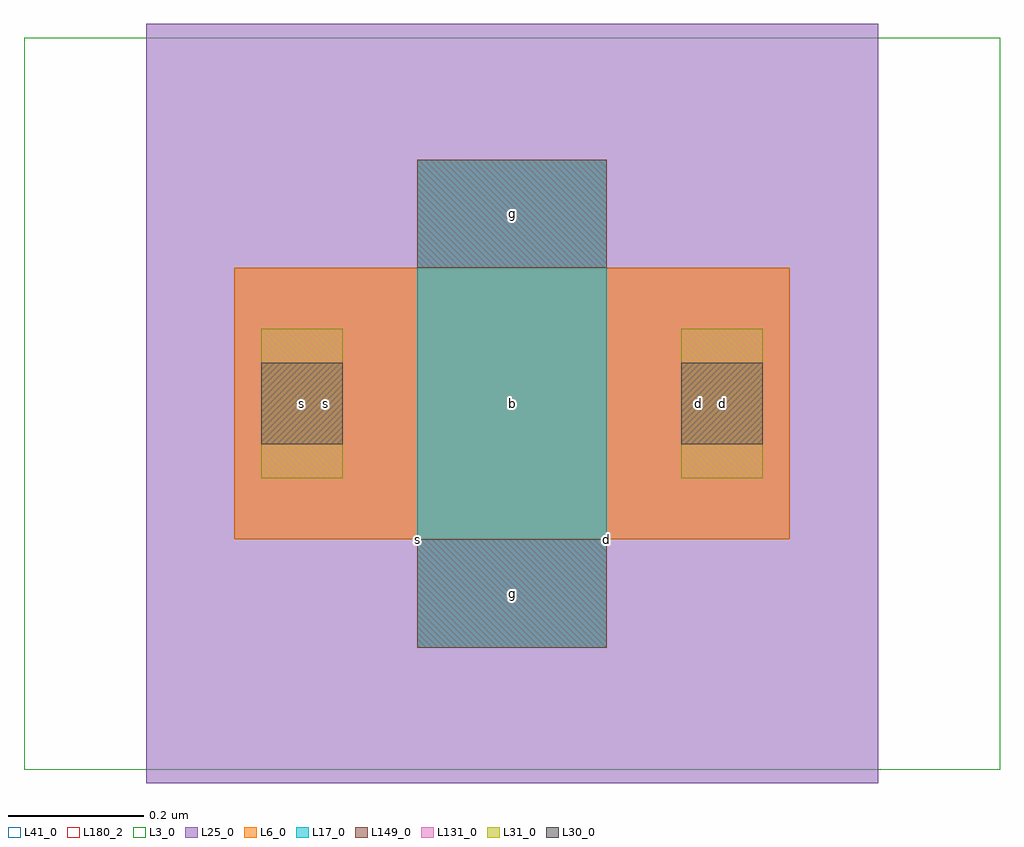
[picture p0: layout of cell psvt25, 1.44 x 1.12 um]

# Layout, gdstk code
import gdstk
lib = gdstk.Library(unit=1e-6, precision=1e-09)
def R(c, l, rs):  # rectangles x0, y0, x1, y1
    for r in rs: c.add(gdstk.rectangle(r[:2], r[2:], *l))
L3_0 = (3, 0)
L6_0 = (6, 0)
L17_0 = (17, 0)
L25_0 = (25, 0)
L30_0 = (30, 0)
L31_0 = (31, 0)
L41_0 = (41, 0)
L131_0 = (131, 0)
L149_0 = (149, 0)
L180_2 = (180, 2)

pc_ct = lib.new_cell('pc_ct')
R(pc_ct, L30_0, [(0,0,0.12,0.12)])

psvt25 = lib.new_cell('psvt25')
R(psvt25, L3_0, [(-0.58,-0.34,0.86,0.74)])
R(psvt25, L6_0, [(-0.27,0,0.55,0.4), (-0.27,0,0,0.4), (0.28,0,0.55,0.4)])
R(psvt25, L17_0, [(0,-0.16,0.28,0.56)])
R(psvt25, L25_0, [(-0.4,-0.36,0.68,0.76)])
R(psvt25, L31_0, [(-0.23,0.09,-0.11,0.31), (0.39,0.09,0.51,0.31)])
R(psvt25, L41_0, [(-0.58,-0.34,0.86,0.74)])
R(psvt25, L131_0, [(-0.23,0.09,-0.11,0.31), (0.39,0.09,0.51,0.31)])
R(psvt25, L149_0, [(0,-0.16,0.28,0), (0,0.4,0.28,0.56)])
R(psvt25, L180_2, [(-0.58,-0.34,0.86,0.74)])
r = gdstk.Reference(pc_ct, (-0.23,0.14)); r.repetition = gdstk.Repetition(1, 1, v1=(0.26,0), v2=(0,0.26)); psvt25.add(r)
r = gdstk.Reference(pc_ct, (0.39,0.14)); r.repetition = gdstk.Repetition(1, 1, v1=(0.26,0), v2=(0,0.26)); psvt25.add(r)
psvt25.add(gdstk.Label('b', (0.14,0.2), layer=180, texttype=2))
psvt25.add(gdstk.Label('g', (0.14,-0.08), layer=149, texttype=0))
psvt25.add(gdstk.Label('g', (0.14,0.48), layer=149, texttype=0))
psvt25.add(gdstk.Label('s', (-0.17,0.2), layer=131, texttype=0))
psvt25.add(gdstk.Label('d', (0.45,0.2), layer=131, texttype=0))
psvt25.add(gdstk.Label('s', (-0.135,0.2), layer=127, texttype=0))
psvt25.add(gdstk.Label('d', (0.415,0.2), layer=127, texttype=0))
psvt25.add(gdstk.Label('s', (0,0), layer=6, texttype=0))
psvt25.add(gdstk.Label('d', (0.28,0), layer=6, texttype=0))

lib.write_gds('psvt25.gds')
